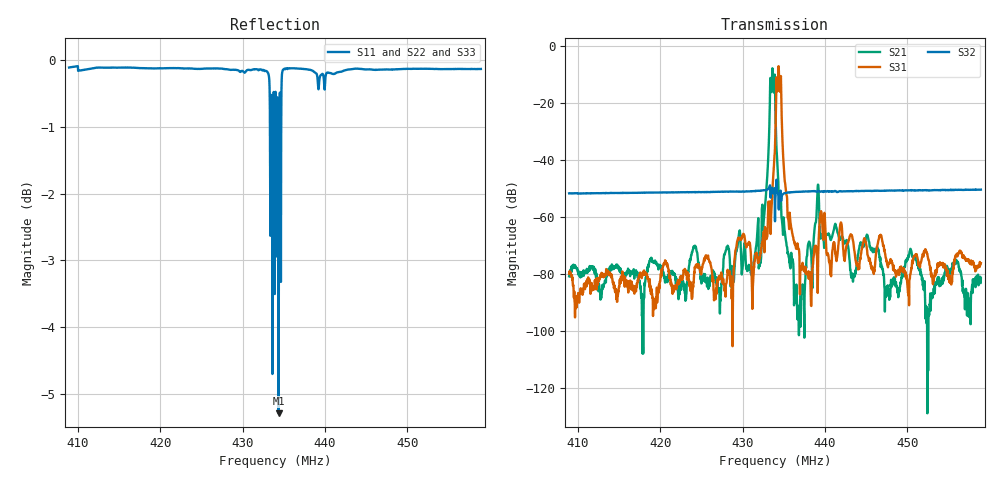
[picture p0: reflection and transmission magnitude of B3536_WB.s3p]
! Matrix data file written by TouchstoneData, EPCOS AG
! FILENAME: "LZ80C_6_MB.s3p"
! COMMENT: "(LZ80C_6_MB.s3p) EPCOS AG 22.05.2012 11:06:0"
! INFO: nport=3, nfreq=1601
! DATE: "Wed May 23 15:30:18 2012"
! USER: "Wilfried Schott"
! port | pin | signal
!  1  |  1  |  IN
!  2  |  5  |  OUT_CH1
!  3  |  7  |  OUT_CH2
# MHZ S MA R 50
! freq  magS11 angS11  magS12 angS12  magS13 angS13  ...
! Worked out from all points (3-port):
!   1601 points, 408.9 MHz to 458.9 MHz, reference 50 ohm
!   strongest paths, dB at 408.9 MHz, 421.4 MHz, 433.9 MHz, 446.4 MHz, 458.9 MHz:
!     S32: -51.7, -51.4, -61.5, -50.7, -50.4
!     S31: -79.8, -85.1, -35.5, -69.0, -76.2
!     S21: -80.7, -79.3, -14.1, -71.7, -81.6
!   lowest |S11| = -5.3 dB at 434.4 MHz (marker M1), VSWR 3.39, Z = 94 - j77.2 ohm
!   |S11| at or under -10 dB: nowhere
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408.92  0.9872 -29.8  9.876e-05 88.8  0.000107 83.7
        9.184e-05 92.6  0.9902 -17.5  0.002591 73.0
        0.0001018 82.7  0.002602 69.8  0.9892 -18.4
431.045  0.983 -32.4  0.0001105 47.4  0.0001521 115.8
         9.83e-05 40.3  0.9871 -19.1  0.002838 69.9
         0.0001504 119.1  0.002821 70.0  0.9852 -19.7
433.17  0.9733 -38.3  0.01974 44.5  0.00116 -174.7
        0.01974 44.4  0.976 -24.1  0.003211 65.8
        0.001148 -174.9  0.00321 66.0  0.9845 -21.0
433.92  0.8338 -21.4  0.1968 -63.0  0.01681 -130.2
        0.1972 -62.9  0.8466 -3.2  0.0008231 138.0
        0.01682 -130.2  0.0008446 137.5  0.9757 -25.1
434.3575  0.5439 -32.1  0.002481 -117.9  0.438 -19.7
          0.002497 -117.5  0.9866 -15.6  0.001598 37.7
          0.4379 -19.7  0.001548 37.3  0.5331 -22.4
435.42  0.9845 -28.5  0.0002578 -114.6  0.001364 34.8
        0.0002743 -115.0  0.9874 -17.5  0.002671 71.7
        0.001336 35.1  0.002675 71.8  0.9867 -17.4
437.17  0.985 -30.3  5.379e-05 -3.6  0.0001396 91.2
        5.008e-05 6.2  0.9874 -18.1  0.00279 68.8
        0.0001285 94.8  0.002785 73.3  0.9871 -18.6
439.0763  0.9696 -31.3  0.002875 172.6  0.0001026 -4.9
          0.002892 171.3  0.9714 -18.2  0.002775 65.0
          0.0001035 13.8  0.002777 78.5  0.9842 -18.6
443.3888  0.9846 -31.3  0.0001013 1.5  0.000385 153.9
          7.396e-05 3.8  0.987 -18.5  0.002832 69.9
          0.0003821 155.4  0.002837 70.0  0.9856 -19.4
458.92  0.9847 -33.0  7.922e-05 91.8  0.0001545 -137.1
        8.32e-05 89.4  0.9871 -19.5  0.003019 69.1
        0.0001555 -137.5  0.003022 68.8  0.986 -20.4
